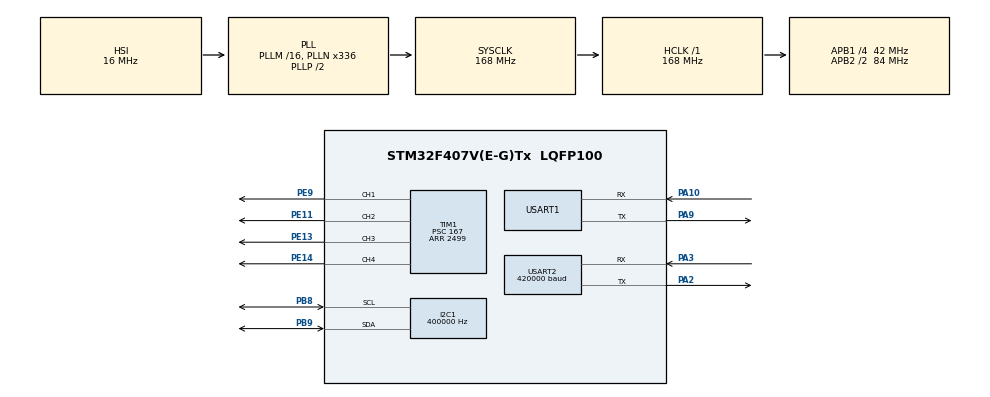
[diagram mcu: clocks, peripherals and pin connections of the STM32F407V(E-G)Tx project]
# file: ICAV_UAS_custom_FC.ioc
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I2C1.ClockSpeed=400000
I2C1.I2C_Speed_Mode=I2C_Fast
Mcu.Family=STM32F4
Mcu.Name=STM32F407V(E-G)Tx
Mcu.Package=LQFP100
NVIC.PriorityGroup=NVIC_PRIORITYGROUP_4
PA10.Mode=Asynchronous
PA10.Signal=USART1_RX
PA2.Mode=Asynchronous
PA2.Signal=USART2_TX
PA3.GPIO_PuPd=GPIO_PULLUP
PA3.Mode=Asynchronous
PA3.Signal=USART2_RX
PA9.Mode=Asynchronous
PA9.Signal=USART1_TX
PB8.Mode=I2C
PB8.Signal=I2C1_SCL
PB9.Mode=I2C
PB9.Signal=I2C1_SDA
PE11.Signal=S_TIM1_CH2
PE13.Signal=S_TIM1_CH3
PE14.Signal=S_TIM1_CH4
PE9.Signal=S_TIM1_CH1
ProjectManager.HeapSize=0x200
ProjectManager.StackSize=0x400
ProjectManager.TargetToolchain=CMake
RCC.AHBFreq_Value=168000000
RCC.APB1CLKDivider=RCC_HCLK_DIV4
RCC.APB1Freq_Value=42000000
RCC.APB1TimFreq_Value=84000000
RCC.APB2CLKDivider=RCC_HCLK_DIV2
RCC.APB2Freq_Value=84000000
RCC.APB2TimFreq_Value=168000000
RCC.CortexFreq_Value=168000000
RCC.HCLKFreq_Value=168000000
RCC.HSE_VALUE=25000000
RCC.HSI_VALUE=16000000
RCC.LSE_VALUE=32768
RCC.PLLM=16
RCC.PLLN=336
RCC.PLLQ=7
RCC.SYSCLKFreq_VALUE=168000000
RCC.SYSCLKSource=RCC_SYSCLKSOURCE_PLLCLK
RCC.VCOOutputFreq_Value=336000000
SH.S_TIM1_CH1.0=TIM1_CH1,PWM Generation1 CH1
SH.S_TIM1_CH2.0=TIM1_CH2,PWM Generation2 CH2
SH.S_TIM1_CH3.0=TIM1_CH3,PWM Generation3 CH3
SH.S_TIM1_CH4.0=TIM1_CH4,PWM Generation4 CH4
TIM1.AutoReloadPreload=TIM_AUTORELOAD_PRELOAD_ENABLE
TIM1.Channel-PWM\ Generation1\ CH1=TIM_CHANNEL_1
TIM1.Channel-PWM\ Generation2\ CH2=TIM_CHANNEL_2
TIM1.Channel-PWM\ Generation3\ CH3=TIM_CHANNEL_3
TIM1.Channel-PWM\ Generation4\ CH4=TIM_CHANNEL_4
TIM1.Period=2499
TIM1.Prescaler=167
TIM1.Pulse-PWM\ Generation1\ CH1=1000
TIM1.Pulse-PWM\ Generation2\ CH2=1000
TIM1.Pulse-PWM\ Generation3\ CH3=1000
TIM1.Pulse-PWM\ Generation4\ CH4=1000
USART1.VirtualMode=VM_ASYNC
USART2.BaudRate=420000
USART2.VirtualMode=VM_ASYNC
VP_TIM1_VS_ClockSourceINT.Mode=Internal
board=custom

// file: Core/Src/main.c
/* USER CODE BEGIN Header */
/**
  ******************************************************************************
  * @file           : main.c
  * @brief          : Main program body
  ******************************************************************************
  * @attention
  *
  * Copyright (c) 2026 STMicroelectronics.
  * All rights reserved.
  *
  * This software is licensed under terms that can be found in the LICENSE file
  * in the root directory of this software component.
  * If no LICENSE file comes with this software, it is provided AS-IS.
  *
  ******************************************************************************
  */
/* USER CODE END Header */
#include "main.h"

/* USER CODE BEGIN Includes */

#include "fcConfig.h"
#include "i2c_IMU.h"
#include "rcInput.h"
#include "motorOutput.h"
#include "flightControl.h"
#include "attitudeEstimator.h"
#include "imuCalibration.h"
#include "pwmTest.h"
#include "timing.h"
#include "debugUart.h"
#include <stdio.h>
/* USER CODE END Includes */

I2C_HandleTypeDef hi2c1;

TIM_HandleTypeDef htim1;

UART_HandleTypeDef huart1;
UART_HandleTypeDef huart2;

void SystemClock_Config(void);
static void MX_GPIO_Init(void);
static void MX_I2C1_Init(void);
static void MX_USART1_UART_Init(void);
static void MX_USART2_UART_Init(void);
static void MX_TIM1_Init(void);

/* USER CODE BEGIN 0 */

int _write(int file, char *ptr, int len){
  (void)file;
  return debugUartWrite(ptr, len);
}

#if !RUN_PWM_TEST   // everything below is flight code, not built for the PWM test

// Something we can't fly without failed at start-up: say so and blink the LED fast forever.
// The motors stay stopped.
static void startupFault(const char *what){
  printf("%s failed - not flying\r\n", what);
  while (1)
  {
    HAL_GPIO_TogglePin(GPIOA, GPIO_PIN_6);
    HAL_Delay(100);
  }
}

// ESC calibration, PROPS OFF:
// 1. Battery unplugged, board on USB. 2. Arm switch off, throttle stick at the top, radio on.
// 3. Reset the board: it prints "ESC calibration". 4. Plug in the battery, wait for the ESC beeps.
// 5. Throttle to the bottom, wait for the confirm beeps. 6. Unplug everything.
// The throttle stick goes straight to every ESC until power-off.
static void escCalibrationCheck(void){
  radioCommand cmd = {0};
  uint32_t start = HAL_GetTick();
  bool linked = false;

  while (HAL_GetTick() - start < 3000 && !linked)   // give the receiver time to link up
  {
    rcInputUpdate();
    linked = rcInputGetCommand(&cmd);
  }
  if (!linked || cmd.armSwitch || cmd.throttle < 0.9f) return;

  printf("ESC calibration: throttle goes straight to the ESCs. Power off to exit\r\n");
  while (1)
  {
    rcInputUpdate();
    if (rcInputGetCommand(&cmd)) motorWriteAllUs((uint16_t)(MOTOR_STOP_US + cmd.throttle * (MOTOR_MAX_US - MOTOR_STOP_US)));
    else motorWriteAllUs(MOTOR_STOP_US);
  }
}

// Accelerometer calibration, picked with the sticks at power-up (arm switch off, throttle down):
//   roll stick held full LEFT  -> accel calibration (pick the drone up, hold it still in many orientations)
//   roll stick held full RIGHT -> level trim (drone on a level surface)
// Runs after the gyro calibration, so keep the drone still until it starts. Power cycle afterwards.
static void imuCalibrationCheck(void){
  radioCommand cmd = {0};
  uint32_t start = HAL_GetTick();
  bool linked = false;
  while (HAL_GetTick() - start < 1000 && !linked)
  {
    rcInputUpdate();
    linked = rcInputGetCommand(&cmd);
  }
  if (!linked || cmd.armSwitch || cmd.throttle > 0.1f) return;

  if (cmd.roll < -0.8f) imuCalRunAccel();
  else if (cmd.roll > 0.8f) imuCalRunLevel();
}

static const char *armStateName(fcArmState s){
  switch (s)
  {
    case FC_ARMED: return "ARMED";
    case FC_FAILSAFE: return "FAILSAFE";
    default: return "DISARMED";
  }
}

// One status line, 10 Hz. Integers only (nano printf has no floats).
// Accel in mm/s^2, gyro in mrad/s. Level and still: accel ~ (0, 0, -9810).
// Tilt nose down: accel x < 0. Right side down: accel y < 0.
// Roll right, nose up, yaw right (clockwise from above): each gyro axis goes positive.
// att = estimated roll, pitch in degrees (right side down / nose up positive).
static void printStatus(const fcStatus *fc, const i2cIMUData *imu, const attitudeEstimator *est, bool linkUp, uint32_t maxLoopUs){
  float roll = 0.0f, pitch = 0.0f;
  attEstGetRollPitch(est, &roll, &pitch);
  uint16_t pulses[4];
  motorGetPulses(pulses);
  const crsfParser *rc = rcInputGetParser();

  char line[240];
  int n = snprintf(line, sizeof(line),
    "%s(%s)  att %4d %4d  acc %6d %6d %6d  gyro %5d %5d %5d  thr %3d%%  m %4u %4u %4u %4u  rc %s LQ %3u  loop %4lu us\r\n",
    armStateName(fc->armState), fc->disarmReason,
    (int)(roll * 57.2958f), (int)(pitch * 57.2958f),
    (int)(imu->accelX * 1000.0f), (int)(imu->accelY * 1000.0f), (int)(imu->accelZ * 1000.0f),
    (int)(imu->gyroX * 1000.0f), (int)(imu->gyroY * 1000.0f), (int)(imu->gyroZ * 1000.0f),
    (int)(fc->thrust * 100.0f),
    (unsigned)pulses[0], (unsigned)pulses[1], (unsigned)pulses[2], (unsigned)pulses[3],
    linkUp ? "UP" : "LOST", (unsigned)rc->linkStats.uplinkLinkQuality, (unsigned long)maxLoopUs);
  if (n > 0) debugUartWrite(line, n < (int)sizeof(line) ? n : (int)sizeof(line) - 1);
}
// Starting attitude from the averaged accelerometer. Drone still, like the gyro calibration.
static bool attitudeInitFromAccel(attitudeEstimator *est){
  i2cIMUData imu;
  vector3 sum = {0.0f, 0.0f, 0.0f};
  int good = 0;
  for (int i = 0; i < ATT_EST_INIT_SAMPLES; i++)
  {
    rcInputUpdate();
    if (i2cImuRead(&imu))
    {
      sum.x += imu.accelX; sum.y += imu.accelY; sum.z += imu.accelZ;
      good++;
    }
    HAL_Delay(2);
  }
  if (good < ATT_EST_INIT_SAMPLES / 2) return false;
  float inv = 1.0f / (float)good;
  return attEstInit(est, (vector3){sum.x * inv, sum.y * inv, sum.z * inv});
}

#endif // !RUN_PWM_TEST

/* USER CODE END 0 */

int main(void)
{

  /* MCU Configuration--------------------------------------------------------*/

  /* Reset of all peripherals, Initializes the Flash interface and the Systick. */
  HAL_Init();

  /* Configure the system clock */
  SystemClock_Config();

  /* Initialize all configured peripherals */
  MX_GPIO_Init();
  MX_I2C1_Init();
  MX_USART1_UART_Init();
  MX_USART2_UART_Init();
  MX_TIM1_Init();
  /* USER CODE BEGIN 2 */

  // Motors stopped before anything else, so the ESCs see a valid stop signal
  motorInit(&htim1);
  debugUartInit();
  setvbuf(stdout, NULL, _IOLBF, 128);   // printf sends a line at a time
  timingInit();
  printf("\r\nICAV FC starting\r\n");

#if RUN_PWM_TEST
  // PWM test build: only the motor outputs and the debug UART. See fcConfig.h
  pwmTestInit();
#else
  if (!i2cImuInit()) startupFault("MPU6050");
  imuCalStatus imuCal = imuCalLoad();
  printf("Accel calibration: %s, level trim: %s\r\n",
         imuCal.accelCalibrated ? "yes" : "NOT DONE", imuCal.levelTrimmed ? "yes" : "NOT DONE");

  rcInputInit(&huart2);

  static attitudeEstimator attEst;

  if (RUN_STARTUP_CALIBRATIONS)
  {
    escCalibrationCheck();

    // Gyro bias: keep the drone still
    while (!i2cImuCalibrateGyro(1000))
    {
      printf("Gyro calibration failed (moved?), retrying\r\n");
      HAL_Delay(500);
    }

    imuCalibrationCheck();

    // Attitude estimate (Mahony): roll and pitch from the accelerometer to start, yaw = 0
    while (!attitudeInitFromAccel(&attEst))
    {
      printf("Attitude init failed (moving or IMU error), retrying\r\n");
      HAL_Delay(500);
    }
  }
  else
  {
    // Bench test: no waiting. Gyro bias isn't removed, so the attitude will drift slowly.
    // If this first try fails, the loop keeps retrying from the accelerometer.
    printf("STARTUP CALIBRATIONS SKIPPED (RUN_STARTUP_CALIBRATIONS = false) - bench test only\r\n");
    attitudeInitFromAccel(&attEst);
  }

  flightControlInit();
  printf("Ready. Angle mode: arm switch on with throttle down to arm\r\n");

  i2cIMUData imu = {0};
  const uint32_t periodUs = 1000000u / LOOP_RATE_HZ;
  uint32_t lastLoopUs = micros();
  uint32_t nextLoopUs = lastLoopUs + periodUs;
  uint32_t loopCount = 0, maxLoopUs = 0, ledTick = 0;
  int imuFailures = 0;

  watchdogStart(100);   // if the loop ever hangs for 100 ms the board resets (motors stop on reset)
#endif // RUN_PWM_TEST

  /* USER CODE END 2 */

  /* Infinite loop */
  while (1)
  {

    /* USER CODE BEGIN 3 */

#if RUN_PWM_TEST
    pwmTestUpdate();
#else
    // ---- Wait for the next slot (500 Hz) ----
    while ((int32_t)(micros() - nextLoopUs) < 0) {}
    uint32_t nowUs = micros();
    float dt = (float)(nowUs - lastLoopUs) * 1e-6f;
    lastLoopUs = nowUs;
    nextLoopUs += periodUs;
    if ((int32_t)(nowUs - nextLoopUs) > (int32_t)periodUs) nextLoopUs = nowUs + periodUs;   // way behind: don't try to catch up
    loopCount++;

    // ---- Sensors ----
    rcInputUpdate();

    if (i2cImuRead(&imu))
    {
      imuFailures = 0;
      vector3 gyro = {imu.gyroX, imu.gyroY, imu.gyroZ};
      vector3 accel = {imu.accelX, imu.accelY, imu.accelZ};
      if (attEst.initialised) attEstUpdate(&attEst, gyro, accel, dt);
      else attEstInit(&attEst, accel);   // lost it (NaN): restart from the accel. Disarms meanwhile
    }
    else imuFailures++;

    // ---- Control ----
    radioCommand cmd;
    bool linkUp = rcInputGetCommand(&cmd);

    vehicleState state;
    state.attitude = attEst.q;
    state.attitudeValid = attEst.initialised;
    state.gyro = (vector3){imu.gyroX, imu.gyroY, imu.gyroZ};
    state.imuHealthy = imuFailures < IMU_FAIL_LIMIT;
    flightControlUpdate(&state, &cmd, linkUp, dt);

    // ---- Housekeeping ----
    const fcStatus *fc = flightControlStatus();
    uint32_t loopUs = micros() - nowUs;
    if (loopUs > maxLoopUs) maxLoopUs = loopUs;

    // LED (active low): solid when armed, slow blink when disarmed
    if (fc->armState != FC_DISARMED) HAL_GPIO_WritePin(GPIOA, GPIO_PIN_6, GPIO_PIN_RESET);
    else if (++ledTick >= LOOP_RATE_HZ / 2) { ledTick = 0; HAL_GPIO_TogglePin(GPIOA, GPIO_PIN_6); }

    if (loopCount % DEBUG_RATE_DIVIDER == 7 && debugUartIdle())
    {
      printStatus(fc, &imu, &attEst, linkUp, maxLoopUs);
      maxLoopUs = 0;
    }

    watchdogKick();
#endif // RUN_PWM_TEST
  }
  /* USER CODE END 3 */
}

void SystemClock_Config(void)
{
  RCC_OscInitTypeDef RCC_OscInitStruct = {0};
  RCC_ClkInitTypeDef RCC_ClkInitStruct = {0};

  /** Configure the main internal regulator output voltage
  */
  __HAL_RCC_PWR_CLK_ENABLE();
  __HAL_PWR_VOLTAGESCALING_CONFIG(PWR_REGULATOR_VOLTAGE_SCALE1);

  /** Initializes the RCC Oscillators according to the specified parameters
  * in the RCC_OscInitTypeDef structure.
  */
  RCC_OscInitStruct.OscillatorType = RCC_OSCILLATORTYPE_HSI;
  RCC_OscInitStruct.HSIState = RCC_HSI_ON;
  RCC_OscInitStruct.HSICalibrationValue = RCC_HSICALIBRATION_DEFAULT;
  RCC_OscInitStruct.PLL.PLLState = RCC_PLL_ON;
  RCC_OscInitStruct.PLL.PLLSource = RCC_PLLSOURCE_HSI;
  RCC_OscInitStruct.PLL.PLLM = 16;
  RCC_OscInitStruct.PLL.PLLN = 336;
  RCC_OscInitStruct.PLL.PLLP = RCC_PLLP_DIV2;
  RCC_OscInitStruct.PLL.PLLQ = 7;
  if (HAL_RCC_OscConfig(&RCC_OscInitStruct) != HAL_OK)
  {
    Error_Handler();
  }

  /** Initializes the CPU, AHB and APB buses clocks
  */
  RCC_ClkInitStruct.ClockType = RCC_CLOCKTYPE_HCLK|RCC_CLOCKTYPE_SYSCLK
                              |RCC_CLOCKTYPE_PCLK1|RCC_CLOCKTYPE_PCLK2;
  RCC_ClkInitStruct.SYSCLKSource = RCC_SYSCLKSOURCE_PLLCLK;
  RCC_ClkInitStruct.AHBCLKDivider = RCC_SYSCLK_DIV1;
  RCC_ClkInitStruct.APB1CLKDivider = RCC_HCLK_DIV4;
  RCC_ClkInitStruct.APB2CLKDivider = RCC_HCLK_DIV2;

  if (HAL_RCC_ClockConfig(&RCC_ClkInitStruct, FLASH_LATENCY_5) != HAL_OK)
  {
    Error_Handler();
  }
}

static void MX_I2C1_Init(void)
{

  hi2c1.Instance = I2C1;
  hi2c1.Init.ClockSpeed = 400000;
  hi2c1.Init.DutyCycle = I2C_DUTYCYCLE_2;
  hi2c1.Init.OwnAddress1 = 0;
  hi2c1.Init.AddressingMode = I2C_ADDRESSINGMODE_7BIT;
  hi2c1.Init.DualAddressMode = I2C_DUALADDRESS_DISABLE;
  hi2c1.Init.OwnAddress2 = 0;
  hi2c1.Init.GeneralCallMode = I2C_GENERALCALL_DISABLE;
  hi2c1.Init.NoStretchMode = I2C_NOSTRETCH_DISABLE;
  if (HAL_I2C_Init(&hi2c1) != HAL_OK)
  {
    Error_Handler();
  }

}

static void MX_USART1_UART_Init(void)
{

  huart1.Instance = USART1;
  huart1.Init.BaudRate = 115200;
  huart1.Init.WordLength = UART_WORDLENGTH_8B;
  huart1.Init.StopBits = UART_STOPBITS_1;
  huart1.Init.Parity = UART_PARITY_NONE;
  huart1.Init.Mode = UART_MODE_TX_RX;
  huart1.Init.HwFlowCtl = UART_HWCONTROL_NONE;
  huart1.Init.OverSampling = UART_OVERSAMPLING_16;
  if (HAL_UART_Init(&huart1) != HAL_OK)
  {
    Error_Handler();
  }

}

static void MX_USART2_UART_Init(void)
{

  huart2.Instance = USART2;
  huart2.Init.BaudRate = 420000;
  huart2.Init.WordLength = UART_WORDLENGTH_8B;
  huart2.Init.StopBits = UART_STOPBITS_1;
  huart2.Init.Parity = UART_PARITY_NONE;
  huart2.Init.Mode = UART_MODE_TX_RX;
  huart2.Init.HwFlowCtl = UART_HWCONTROL_NONE;
  huart2.Init.OverSampling = UART_OVERSAMPLING_16;
  if (HAL_UART_Init(&huart2) != HAL_OK)
  {
    Error_Handler();
  }

}

static void MX_TIM1_Init(void)
{

  TIM_ClockConfigTypeDef sClockSourceConfig = {0};
  TIM_MasterConfigTypeDef sMasterConfig = {0};
  TIM_OC_InitTypeDef sConfigOC = {0};
  TIM_BreakDeadTimeConfigTypeDef sBreakDeadTimeConfig = {0};

  /* USER CODE BEGIN TIM1_Init 1 */
  /* 1 us ticks (168 MHz / 168), 2500 us period = 400 Hz. Starts at 1000 us = motors stopped */
  /* USER CODE END TIM1_Init 1 */
  htim1.Instance = TIM1;
  htim1.Init.Prescaler = 167;
  htim1.Init.CounterMode = TIM_COUNTERMODE_UP;
  htim1.Init.Period = 2499;
  htim1.Init.ClockDivision = TIM_CLOCKDIVISION_DIV1;
  htim1.Init.RepetitionCounter = 0;
  htim1.Init.AutoReloadPreload = TIM_AUTORELOAD_PRELOAD_ENABLE;
  if (HAL_TIM_Base_Init(&htim1) != HAL_OK)
  {
    Error_Handler();
  }
  sClockSourceConfig.ClockSource = TIM_CLOCKSOURCE_INTERNAL;
  if (HAL_TIM_ConfigClockSource(&htim1, &sClockSourceConfig) != HAL_OK)
  {
    Error_Handler();
  }
  if (HAL_TIM_PWM_Init(&htim1) != HAL_OK)
  {
    Error_Handler();
  }
  sMasterConfig.MasterOutputTrigger = TIM_TRGO_RESET;
  sMasterConfig.MasterSlaveMode = TIM_MASTERSLAVEMODE_DISABLE;
  if (HAL_TIMEx_MasterConfigSynchronization(&htim1, &sMasterConfig) != HAL_OK)
  {
    Error_Handler();
  }
  sConfigOC.OCMode = TIM_OCMODE_PWM1;
  sConfigOC.Pulse = 1000;
  sConfigOC.OCPolarity = TIM_OCPOLARITY_HIGH;
  sConfigOC.OCNPolarity = TIM_OCNPOLARITY_HIGH;
  sConfigOC.OCFastMode = TIM_OCFAST_DISABLE;
  sConfigOC.OCIdleState = TIM_OCIDLESTATE_RESET;
  sConfigOC.OCNIdleState = TIM_OCNIDLESTATE_RESET;
  if (HAL_TIM_PWM_ConfigChannel(&htim1, &sConfigOC, TIM_CHANNEL_1) != HAL_OK)
  {
    Error_Handler();
  }
  if (HAL_TIM_PWM_ConfigChannel(&htim1, &sConfigOC, TIM_CHANNEL_2) != HAL_OK)
  {
    Error_Handler();
  }
  if (HAL_TIM_PWM_ConfigChannel(&htim1, &sConfigOC, TIM_CHANNEL_3) != HAL_OK)
  {
    Error_Handler();
  }
  if (HAL_TIM_PWM_ConfigChannel(&htim1, &sConfigOC, TIM_CHANNEL_4) != HAL_OK)
  {
    Error_Handler();
  }
  sBreakDeadTimeConfig.OffStateRunMode = TIM_OSSR_DISABLE;
  sBreakDeadTimeConfig.OffStateIDLEMode = TIM_OSSI_DISABLE;
  sBreakDeadTimeConfig.LockLevel = TIM_LOCKLEVEL_OFF;
  sBreakDeadTimeConfig.DeadTime = 0;
  sBreakDeadTimeConfig.BreakState = TIM_BREAK_DISABLE;
  sBreakDeadTimeConfig.BreakPolarity = TIM_BREAKPOLARITY_HIGH;
  sBreakDeadTimeConfig.AutomaticOutput = TIM_AUTOMATICOUTPUT_DISABLE;
  if (HAL_TIMEx_ConfigBreakDeadTime(&htim1, &sBreakDeadTimeConfig) != HAL_OK)
  {
    Error_Handler();
  }
  HAL_TIM_MspPostInit(&htim1);

}

static void MX_GPIO_Init(void)
{

  /* GPIO Ports Clock Enable */
  __HAL_RCC_GPIOA_CLK_ENABLE();
  __HAL_RCC_GPIOB_CLK_ENABLE();
  __HAL_RCC_GPIOE_CLK_ENABLE();

  /* USER CODE BEGIN MX_GPIO_Init_2 */
  GPIO_InitTypeDef GPIO_InitStruct = {0};
  GPIO_InitStruct.Pin   = GPIO_PIN_6; // PA6, PA7 = onboard LEDs
  GPIO_InitStruct.Mode  = GPIO_MODE_OUTPUT_PP;      // Push-pull output
  GPIO_InitStruct.Pull  = GPIO_NOPULL;
  GPIO_InitStruct.Speed = GPIO_SPEED_FREQ_LOW;
  HAL_GPIO_Init(GPIOA, &GPIO_InitStruct);
  /* USER CODE END MX_GPIO_Init_2 */
}

void Error_Handler(void)
{
  /* USER CODE BEGIN Error_Handler_Debug */
  /* Motors off first - TIM1 keeps sending the stop pulse even with interrupts off */
  motorEmergencyStop();
  /* User can add his own implementation to report the HAL error return state */
  __disable_irq();
  while (1)
  {
  }
  /* USER CODE END Error_Handler_Debug */
}
